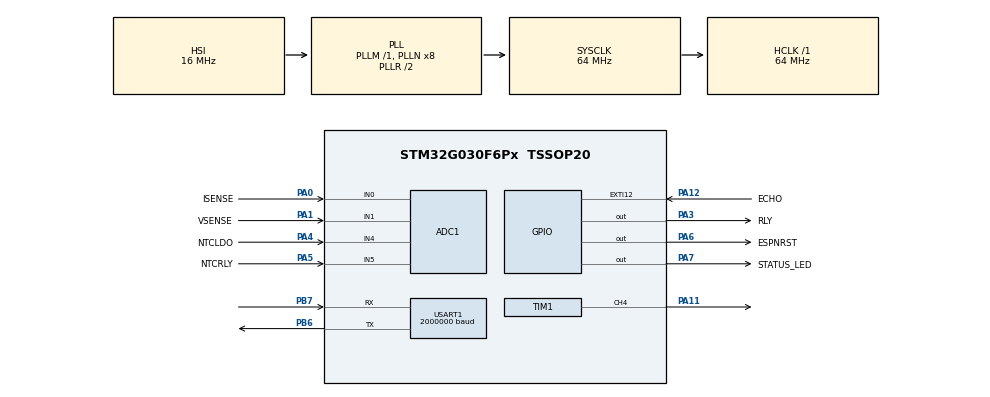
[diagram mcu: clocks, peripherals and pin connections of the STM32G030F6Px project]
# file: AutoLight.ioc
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ADC1.Channel-0\#ChannelRegularConversion=ADC_CHANNEL_0
ADC1.Channel-1\#ChannelRegularConversion=ADC_CHANNEL_1
ADC1.Channel-2\#ChannelRegularConversion=ADC_CHANNEL_4
ADC1.Channel-3\#ChannelRegularConversion=ADC_CHANNEL_5
ADC1.ContinuousConvMode=ENABLE
ADC1.DMAContinuousRequests=ENABLE
ADC1.DiscontinuousConvMode=DISABLE
ADC1.NbrOfConversion=4
ADC1.NbrOfConversionFlag=1
ADC1.OversamplingMode=ENABLE
ADC1.Rank-0\#ChannelRegularConversion=1
ADC1.Rank-1\#ChannelRegularConversion=2
ADC1.Rank-2\#ChannelRegularConversion=3
ADC1.Rank-3\#ChannelRegularConversion=4
ADC1.Ratio=ADC_OVERSAMPLING_RATIO_256
ADC1.RightBitShift=ADC_RIGHTBITSHIFT_8
ADC1.SamplingTime-0\#ChannelRegularConversion=ADC_SAMPLINGTIME_COMMON_1
ADC1.SamplingTime-1\#ChannelRegularConversion=ADC_SAMPLINGTIME_COMMON_1
ADC1.SamplingTime-2\#ChannelRegularConversion=ADC_SAMPLINGTIME_COMMON_1
ADC1.SamplingTime-3\#ChannelRegularConversion=ADC_SAMPLINGTIME_COMMON_1
ADC1.SamplingTimeCommon1=ADC_SAMPLETIME_160CYCLES_5
ADC1.SelectedChannel=ADC_CHANNEL_0|ADC_CHANNEL_1|ADC_CHANNEL_4|ADC_CHANNEL_5
ADC1.master=1
Dma.ADC1.0.Direction=DMA_PERIPH_TO_MEMORY
Dma.ADC1.0.EventEnable=DISABLE
Dma.ADC1.0.Instance=DMA1_Channel1
Dma.ADC1.0.MemDataAlignment=DMA_MDATAALIGN_HALFWORD
Dma.ADC1.0.MemInc=DMA_MINC_ENABLE
Dma.ADC1.0.Mode=DMA_CIRCULAR
Dma.ADC1.0.PeriphDataAlignment=DMA_PDATAALIGN_HALFWORD
Dma.ADC1.0.PeriphInc=DMA_PINC_DISABLE
Dma.ADC1.0.Polarity=HAL_DMAMUX_REQ_GEN_RISING
Dma.ADC1.0.Priority=DMA_PRIORITY_LOW
Dma.ADC1.0.RequestNumber=1
Dma.ADC1.0.SignalID=NONE
Dma.ADC1.0.SyncEnable=DISABLE
Dma.ADC1.0.SyncPolarity=HAL_DMAMUX_SYNC_NO_EVENT
Dma.ADC1.0.SyncRequestNumber=1
Dma.ADC1.0.SyncSignalID=NONE
Dma.Request0=ADC1
Dma.Request1=USART1_RX
Dma.USART1_RX.1.Direction=DMA_PERIPH_TO_MEMORY
Dma.USART1_RX.1.EventEnable=DISABLE
Dma.USART1_RX.1.Instance=DMA1_Channel2
Dma.USART1_RX.1.MemDataAlignment=DMA_MDATAALIGN_BYTE
Dma.USART1_RX.1.MemInc=DMA_MINC_ENABLE
Dma.USART1_RX.1.Mode=DMA_CIRCULAR
Dma.USART1_RX.1.PeriphDataAlignment=DMA_PDATAALIGN_BYTE
Dma.USART1_RX.1.PeriphInc=DMA_PINC_DISABLE
Dma.USART1_RX.1.Polarity=HAL_DMAMUX_REQ_GEN_RISING
Dma.USART1_RX.1.Priority=DMA_PRIORITY_LOW
Dma.USART1_RX.1.RequestNumber=1
Dma.USART1_RX.1.SignalID=NONE
Dma.USART1_RX.1.SyncEnable=DISABLE
Dma.USART1_RX.1.SyncPolarity=HAL_DMAMUX_SYNC_NO_EVENT
Dma.USART1_RX.1.SyncRequestNumber=1
Dma.USART1_RX.1.SyncSignalID=NONE
Mcu.Family=STM32G0
Mcu.Name=STM32G030F6Px
Mcu.Package=TSSOP20
NVIC.DMA1_Channel1_IRQn=true\:0\:0\:false\:false\:true\:false\:true\:true
NVIC.DMA1_Channel2_3_IRQn=true\:0\:0\:false\:false\:true\:false\:true\:true
NVIC.EXTI4_15_IRQn=true\:0\:0\:false\:false\:true\:true\:true\:true
NVIC.TIM14_IRQn=true\:0\:0\:false\:false\:true\:true\:true\:true
PA0.GPIO_Label=ISENSE
PA0.Mode=IN0
PA0.Signal=ADC1_IN0
PA1.GPIO_Label=VSENSE
PA1.Mode=IN1
PA1.Signal=ADC1_IN1
PA11\ [PA9].Signal=S_TIM1_CH4
PA12\ [PA10].GPIO_Label=ECHO
PA12\ [PA10].GPIO_ModeDefaultEXTI=GPIO_MODE_IT_RISING_FALLING
PA12\ [PA10].GPIO_PuPd=GPIO_PULLUP
PA12\ [PA10].Signal=GPXTI12
PA13.Mode=Serial_Wire
PA13.Signal=SYS_SWDIO
PA14-BOOT0.Mode=Serial_Wire
PA14-BOOT0.Signal=SYS_SWCLK
PA14-BOOT0__PA15.StandardMode=true
PA3.GPIO_Label=RLY
PA3.GPIO_PuPd=GPIO_PULLDOWN
PA3.Signal=GPIO_Output
PA4.GPIO_Label=NTCLDO
PA4.Mode=IN4
PA4.Signal=ADC1_IN4
PA5.GPIO_Label=NTCRLY
PA5.Mode=IN5
PA5.Signal=ADC1_IN5
PA6.GPIO_Label=ESPNRST
PA6.Signal=GPIO_Output
PA7.GPIO_Label=STATUS_LED
PA7.GPIO_PuPd=GPIO_PULLUP
PA7.Signal=GPIO_Output
PB0__PB1__PB2__PA8.StandardMode=true
PB3__PB4__PB5__PB6.StandardMode=true
PB6.Mode=Asynchronous
PB6.Signal=USART1_TX
PB7.Mode=Asynchronous
PB7.Signal=USART1_RX
PB7__PB8.StandardMode=true
PC14-OSC32_IN\ (PC14)__PB9.StandardMode=true
ProjectManager.HeapSize=0x200
ProjectManager.StackSize=0x400
ProjectManager.TargetToolchain=CMake
RCC.ADCFreq_Value=64000000
RCC.AHBFreq_Value=64000000
RCC.CortexFreq_Value=64000000
RCC.EXTERNAL_CLOCK_VALUE=12288000
RCC.HCLKFreq_Value=64000000
RCC.HSE_VALUE=8000000
RCC.HSI_VALUE=16000000
RCC.LSE_VALUE=32768
RCC.SYSCLKFreq_VALUE=64000000
RCC.SYSCLKSource=RCC_SYSCLKSOURCE_PLLCLK
RCC.VCOOutputFreq_Value=128000000
SH.S_TIM1_CH4.0=TIM1_CH4,PWM Generation4 CH4
TIM1.Channel-PWM\ Generation4\ CH4=TIM_CHANNEL_4
TIM1.OCMode_PWM-PWM\ Generation4\ CH4=TIM_OCMODE_PWM2
TIM1.OCPolarity_4=TIM_OCPOLARITY_HIGH
TIM1.Period=10
TIM1.Prescaler=63
TIM1.Pulse-PWM\ Generation4\ CH4=1
TIM14.Prescaler=249
TIM17.Prescaler=63
USART1.BaudRate=2000000
USART1.VirtualMode-Asynchronous=VM_ASYNC
VP_TIM14_VS_ClockSourceINT.Mode=Enable_Timer
VP_TIM14_VS_OPM.Mode=OPM_bit
VP_TIM17_VS_ClockSourceINT.Mode=Enable_Timer
VP_TIM1_VS_ClockSourceINT.Mode=Internal
VP_TIM1_VS_OPM.Mode=OPM_bit
board=custom

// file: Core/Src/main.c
/* USER CODE BEGIN Header */
/**
  ******************************************************************************
  * @file           : main.c
  * @brief          : Main program body
  ******************************************************************************
  * @attention
  *
  * Copyright (c) 2026 STMicroelectronics.
  * All rights reserved.
  *
  * This software is licensed under terms that can be found in the LICENSE file
  * in the root directory of this software component.
  * If no LICENSE file comes with this software, it is provided AS-IS.
  *
  ******************************************************************************
  */
/* USER CODE END Header */
#include "main.h"
#include "adc.h"
#include "dma.h"
#include "tim.h"
#include "usart.h"
#include "gpio.h"

/* USER CODE BEGIN Includes */
#include <math.h>
#include "../thermistor/adc_table.h"

#include "../ESP8266/esp8266.h"
#include "../Flash/flash.h"
#include "../wifihandler/wifihandler.h"
#include "../wifihandler/userhandlers.h"
#include "../credentials.h"
/* USER CODE END Includes */

/* USER CODE BEGIN PD */
#define AVG_VALUES 50
#define N_SENSORS 4
#define ISENSE_INDEX 0
#define VSENSE_INDEX 1
#define LDO_NTC_INDEX 2
#define RLY_NTC_INDEX 3

#define VOLTAGE_CAL_VALUE 0
#define CURRENT_CAL_VALUE -1753

#define CURRENT_DEADZONE 0.18   // amperes
#define MAX_RELAY_POWER 1000    // watts

#define ACTIVATION_DISTANCE 60  // cm
#define ACTIVATION_TIME 1500    // milliseconds
#define TURN_OFF_TIME 15000     // milliseconds
/* USER CODE END PD */

/* USER CODE BEGIN PV */
uint16_t adc_buf[4 * AVG_VALUES];
uint16_t ldo_temp, rly_temp;
uint32_t voltage, current_int, current_dec, power;
uint16_t echo;
uint32_t sens_distance, last_distance;
WIFI_t wifi;
/* USER CODE END PV */

void SystemClock_Config(void);

/* USER CODE BEGIN 0 */
uint8_t start_check = 0;
uint32_t distance_check_time = 0, turn_off_check_time = 0;
uint8_t startup_finished = 0;

void HAL_GPIO_EXTI_Rising_Callback(uint16_t GPIO_Pin)
{
  if (!startup_finished) return;
  HAL_TIM_Base_Start(&htim17);
}

void HAL_GPIO_EXTI_Falling_Callback(uint16_t GPIO_Pin)
{
  if (!startup_finished) return;
  HAL_TIM_Base_Stop(&htim17);
  echo = TIM17->CNT;
  __HAL_TIM_SET_COUNTER(&htim17, 0);
  // wait ~250ms before sending new trig pulse
  __HAL_TIM_ENABLE(&htim14);
}

void HAL_TIM_PeriodElapsedCallback(TIM_HandleTypeDef *htim)
{
  if (!startup_finished) return;
  if (htim->Instance == TIM14)
  {
    // timer is already stopped (one pulse mode)
    // send 10us trig pulse
    __HAL_TIM_ENABLE(&htim1);
  }
}

/* USER CODE END 0 */

int main(void)
{

  /* MCU Configuration--------------------------------------------------------*/

  /* Reset of all peripherals, Initializes the Flash interface and the Systick. */
  HAL_Init();

  /* Configure the system clock */
  SystemClock_Config();

  /* Initialize all configured peripherals */
  MX_GPIO_Init();
  MX_DMA_Init();
  MX_ADC1_Init();
  MX_USART1_UART_Init();
  MX_TIM1_Init();
  MX_TIM17_Init();
  MX_TIM14_Init();
  /* USER CODE BEGIN 2 */
  HAL_ADCEx_Calibration_Start(&hadc1);
  HAL_ADC_Start_DMA(&hadc1, (uint32_t*)&adc_buf, 4 * AVG_VALUES);

  // configure and start trig timer
  HAL_TIM_PWM_Start(&htim1, TIM_CHANNEL_4);
  HAL_TIM_Base_Start_IT(&htim14);

  // make sure relay is off. user should set it as RESET by default anyway on CubeMX...
  HAL_GPIO_WritePin(RLY_GPIO_Port, RLY_Pin, GPIO_PIN_RESET);

  if (ESP8266_Init() == TIMEOUT)
  {
	  while (1)
		  __NOP();
  }

#ifdef ENABLE_SAVE_TO_FLASH
  FLASH_ReadSaveData();
  if (WIFI_SetName(&wifi, savedata.name) == ERR)
    WIFI_SetName(&wifi, (char*)ESP_NAME); // happens when there is nothing saved to FLASH, so set default name
  WIFI_SetIP(&wifi, savedata.ip);         // if there is nothing saved to FLASH, this function does nothing
#else
  WIFI_SetName(&wifi, (char*)ESP_NAME);
#endif

  memcpy(wifi.SSID, ssid, strlen(ssid));
  memcpy(wifi.pw, password, strlen(password));
  HAL_GPIO_WritePin(STATUS_Port, STATUS_Pin, 1);
  uint32_t connect_status = WIFI_Connect(&wifi);
  if (connect_status == OK)
  {
    WIFI_EnableNTPServer(&wifi, 2);
    /*
    The first time the ESP connects to WiFi, the gateway assigns an IP to it, which now gets saved to FLASH.
    The next time the ESP connects, the gateway could assign a different IP; to prevent this, the function
    WIFI_SetIP(&wifi, savedata.ip); loads the IP previously saved on FLASH so that the ESP tries to connect
    and get this IP
    */
    strncpy(savedata.ip, wifi.IP, 15);
    FLASH_WriteSaveData();
  }
  HAL_GPIO_WritePin(STATUS_Port, STATUS_Pin, 0);

  SWITCH_Init(&(switches[RELAY_SWITCH]), false, RLY_GPIO_Port, RLY_Pin);

  startup_finished = 1;

  __HAL_TIM_ENABLE(&htim1);

  if (connect_status == OK)
  {
    if (WIFIHANDLER_MQTT_Init(&wifi, MQTT_BROKER_IP, MQTT_BROKER_PORT) == OK)
    {
        WIFIHANDLER_MQTT_PublishDiscovery(&wifi);
        WIFIHANDLER_MQTT_PublishStates(&wifi);
    }
  }

  uint32_t last_mqtt_publish = 0;
  /* USER CODE END 2 */

  /* Infinite loop */
  /* USER CODE BEGIN WHILE */
  while (1)
  {
    uint32_t isense_avg = 0, vsense_avg = 0, ldo_avg = 0, rly_avg = 0;
    sens_distance = 0;
    if (AVG_VALUES > 1)
    {
      for (uint32_t i = 0; i < N_SENSORS * AVG_VALUES; i += N_SENSORS)
      {
        isense_avg += adc_buf[i + ISENSE_INDEX];
        vsense_avg += adc_buf[i + VSENSE_INDEX];
        ldo_avg += adc_buf[i + LDO_NTC_INDEX];
        rly_avg += adc_buf[i + RLY_NTC_INDEX];
      }

      isense_avg /= AVG_VALUES;
      vsense_avg /= AVG_VALUES;
      ldo_avg /= AVG_VALUES;
      rly_avg /= AVG_VALUES;
    }
    else
    {
      isense_avg = adc_buf[ISENSE_INDEX];
      vsense_avg = adc_buf[VSENSE_INDEX];
      ldo_avg = adc_buf[LDO_NTC_INDEX];
      rly_avg = adc_buf[RLY_NTC_INDEX];
    }

    sens_distance = (echo * 343 / 20000 + last_distance) / 2;
    last_distance = sens_distance;

    //vcur = (float)isense / 4096.0 * 3.3;
    //current = vcur * 6.95;
    // vcur is the opamp vout
    // 6.95 is a calibration value. tested at 2.17A
    uint32_t current_mul_100 = isense_avg * (5599 + CURRENT_CAL_VALUE) / 1000;
    if (current_mul_100 < CURRENT_DEADZONE * 100)
      current_mul_100 = 0;
    current_int = current_mul_100 / 100;
    current_dec = current_mul_100 - current_int * 100;

    // calibration: output voltage at 297V mains is 0.499V and the voltage
    // increase is 0.04V (output) per each 1V (mains) increase
    //vvolt = (float)vsense / 4096.0 * 3.3;
    //voltage = ((vvolt - 0.499) / 0.040 + 297) * 0.707;
    // the below values have been all multiplied by 100 to avoid floating point math
    voltage = ((vsense_avg) * (7950 + VOLTAGE_CAL_VALUE) / 4096 - 1247 + 29700) * 707 / 100000;

    power = voltage * current_mul_100 / 100;

    ldo_temp = getTemperature(ldo_avg);
    rly_temp = getTemperature(rly_avg);

    if (sens_distance < ACTIVATION_DISTANCE)
    {
      // if distance is low enough, start check timer
      if (!start_check)
      {
        if (!switches[RELAY_SWITCH].pressed)
        {
          distance_check_time = uwTick;
          start_check = 1;
        }
      }
    }
    else
    {
      // if distance is too much, reset the distance check time
      distance_check_time = uwTick;

      // if the relay is on, start the turn off check time (once)
      if (switches[RELAY_SWITCH].pressed && turn_off_check_time == 0)
        turn_off_check_time = uwTick;
    }

    // if enough time has passed while the distance is low enough, turn on the relay
    if (start_check && uwTick - distance_check_time > ACTIVATION_TIME)
    {
      SWITCH_Press(&switches[RELAY_SWITCH]);
      start_check = 0;
      distance_check_time = uwTick;
      turn_off_check_time = 0;
    }

    // if enough time has passed while the distance is high enough, turn off the relay
    // also make sure to only turn off if it's not in manual mode (turned on by user)
    if (turn_off_check_time != 0 && uwTick - turn_off_check_time > TURN_OFF_TIME && !switches[RELAY_SWITCH].manual)
    {
      turn_off_check_time = 0;
      SWITCH_UnPress(&switches[RELAY_SWITCH]);
    }

    if (rly_temp > OVERTEMP_THRESHOLD || ldo_temp > OVERTEMP_THRESHOLD)
    {
      if (switches[RELAY_SWITCH].pressed) {
          SWITCH_UnPress(&switches[RELAY_SWITCH]);
          WIFIHANDLER_MQTT_PublishStates(&wifi);
          WIFIHANDLER_MQTT_SendNotification(&wifi, (char*)OVERTEMP_TEXT);
      }
    }

    if (power > MAX_RELAY_POWER)
    {
      if (switches[RELAY_SWITCH].pressed) {
          SWITCH_UnPress(&switches[RELAY_SWITCH]);
          WIFIHANDLER_MQTT_PublishStates(&wifi);
          WIFIHANDLER_MQTT_SendNotification(&wifi, (char*)OVERLOAD_TEXT);
      }
    }

    HAL_GPIO_WritePin(STATUS_Port, STATUS_Pin, GPIO_PIN_SET);
    WIFIHANDLER_MQTT_Loop(&wifi);
    HAL_GPIO_WritePin(STATUS_Port, STATUS_Pin, GPIO_PIN_RESET);

    WIFIHANDLER_ReconnectIfDisconnected(&wifi);

    if (HAL_GetTick() - last_mqtt_publish > MQTT_PUBLISH_INTERVAL)
    {
        last_mqtt_publish = HAL_GetTick();
        WIFIHANDLER_MQTT_PublishStates(&wifi);
    }
    /* USER CODE END WHILE */

  }
}

void SystemClock_Config(void)
{
  RCC_OscInitTypeDef RCC_OscInitStruct = {0};
  RCC_ClkInitTypeDef RCC_ClkInitStruct = {0};

  /** Configure the main internal regulator output voltage
  */
  HAL_PWREx_ControlVoltageScaling(PWR_REGULATOR_VOLTAGE_SCALE1);

  /** Initializes the RCC Oscillators according to the specified parameters
  * in the RCC_OscInitTypeDef structure.
  */
  RCC_OscInitStruct.OscillatorType = RCC_OSCILLATORTYPE_HSI;
  RCC_OscInitStruct.HSIState = RCC_HSI_ON;
  RCC_OscInitStruct.HSIDiv = RCC_HSI_DIV1;
  RCC_OscInitStruct.HSICalibrationValue = RCC_HSICALIBRATION_DEFAULT;
  RCC_OscInitStruct.PLL.PLLState = RCC_PLL_ON;
  RCC_OscInitStruct.PLL.PLLSource = RCC_PLLSOURCE_HSI;
  RCC_OscInitStruct.PLL.PLLM = RCC_PLLM_DIV1;
  RCC_OscInitStruct.PLL.PLLN = 8;
  RCC_OscInitStruct.PLL.PLLP = RCC_PLLP_DIV2;
  RCC_OscInitStruct.PLL.PLLR = RCC_PLLR_DIV2;
  if (HAL_RCC_OscConfig(&RCC_OscInitStruct) != HAL_OK)
  {
    Error_Handler();
  }

  /** Initializes the CPU, AHB and APB buses clocks
  */
  RCC_ClkInitStruct.ClockType = RCC_CLOCKTYPE_HCLK|RCC_CLOCKTYPE_SYSCLK
                              |RCC_CLOCKTYPE_PCLK1;
  RCC_ClkInitStruct.SYSCLKSource = RCC_SYSCLKSOURCE_PLLCLK;
  RCC_ClkInitStruct.AHBCLKDivider = RCC_SYSCLK_DIV1;
  RCC_ClkInitStruct.APB1CLKDivider = RCC_HCLK_DIV1;

  if (HAL_RCC_ClockConfig(&RCC_ClkInitStruct, FLASH_LATENCY_2) != HAL_OK)
  {
    Error_Handler();
  }
}

void Error_Handler(void)
{
  __disable_irq();
  while (1)
  {
  }
}
